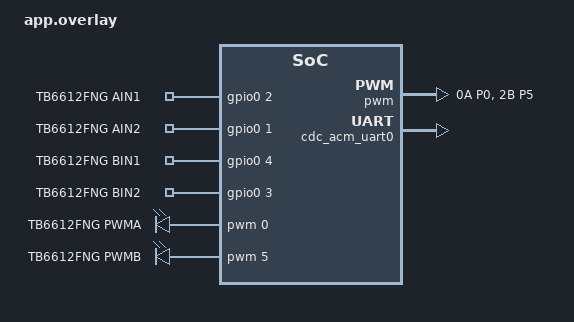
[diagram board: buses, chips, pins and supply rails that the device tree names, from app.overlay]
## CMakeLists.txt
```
# SPDX-License-Identifier: Apache-2.0

cmake_minimum_required(VERSION 3.20.0)

find_package(Zephyr REQUIRED HINTS $ENV{ZEPHYR_BASE})
project(picow_motor)

target_sources(app PRIVATE src/main.c src/motor_control.c)
```

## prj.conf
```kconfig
#CDC specific configurations
CONFIG_USB_DEVICE_STACK=y
CONFIG_USB_DEVICE_PRODUCT="RPi Pico USB Serial Console"
CONFIG_USB_DEVICE_VID=0001
CONFIG_CONSOLE=y

#GPIO specific configurations
CONFIG_GPIO=y #Enables the use of GPIO pins

#Sensor specific configurations
CONFIG_PWM=y

#UART specific configurations - also required for CDC ACM
CONFIG_SERIAL=y # Enable options for serial drivers
CONFIG_UART_CONSOLE=y # Sets the default for printk and printf to output to the UART serial console
CONFIG_UART_LINE_CTRL=y # This enables the API for apps to control the serial line, such as baud rate, CTS and RTS.
```

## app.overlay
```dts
/ {
    chosen {
        zephyr,console = &cdc_acm_uart0;
};

    tb6612fng_pins {
        compatible = "gpio-keys";
        
        ain1_pin_label: ain1_pin {
            gpios = <&gpio0 2 GPIO_ACTIVE_HIGH>;
            label = "TB6612FNG AIN1";
        };
        ain2_pin_label: ain2_pin {
            gpios = <&gpio0 1 GPIO_ACTIVE_HIGH>;
            label = "TB6612FNG AIN2";
        };
        bin1_pin_label: bin1_pin {
            gpios = <&gpio0 4 GPIO_ACTIVE_HIGH>;
            label = "TB6612FNG BIN1";
        };
        bin2_pin_label: bin2_pin {
            gpios = <&gpio0 3 GPIO_ACTIVE_HIGH>;
            label = "TB6612FNG BIN2";
        };
    };

    tb6612fng_pwm {
        compatible = "pwm-leds";
        pwm_a_label: pwm_a {
            pwms = <&pwm 0 PWM_MSEC(20) PWM_POLARITY_NORMAL>;
            label = "TB6612FNG PWMA"; 
        };
        pwm_b_label: pwm_b {
            pwms = <&pwm 5 PWM_MSEC(20) PWM_POLARITY_NORMAL>;
            label = "TB6612FNG PWMB";
        };
    };

};

&pwm {
    status = "okay";
    pinctrl-0 = <&pwm_ch05_default>;
    pinctrl-names = "default";
};


&pinctrl{
    pwm_ch05_default: pwm_ch05_default{
        group1{
            pinmux = <PWM_0A_P0>;
        };
        group2{
            pinmux = <PWM_2B_P5>;
        };
    };
};


&zephyr_udc0 {
    cdc_acm_uart0: cdc_acm_uart0 {
        compatible = "zephyr,cdc-acm-uart";
        label = "CDC_ACM_0";
        status = "okay";
    };
};
```

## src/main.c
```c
#include <zephyr/kernel.h>
#include <zephyr/usb/usb_device.h>
#include <zephyr/drivers/uart.h>
#include <zephyr/drivers/pwm.h>
#include "motor_control.h"

static const struct device *usb_acm = DEVICE_DT_GET(DT_CHOSEN(zephyr_console));

int main(void) {
    int ret;

    if (!device_is_ready(usb_acm)) {
        printk("CDC ACM device not ready\r\n");
        return 0;
    }

    // Configure GPIO pins for motor control
    configure_gpio(&ain_1, "AIN1");
    configure_gpio(&ain_2, "AIN2");
    configure_gpio(&bin_1, "BIN1");
    configure_gpio(&bin_2, "BIN2");

    // Enable USB device
    ret = usb_enable(NULL);
    if (ret != 0) {
        printk("Failed to enable USB\r\n");
        return 0;
    }

    // Wait for the USB connection
    uint32_t dtr = 0;
    while (!dtr) {
        uart_line_ctrl_get(usb_acm, UART_LINE_CTRL_DTR, &dtr);
        k_sleep(K_MSEC(100));
    }

    // Configure PWM for the motor driver
    if (!pwm_is_ready_dt(&pwm_a) || !pwm_is_ready_dt(&pwm_b)) {
        printk("PWM Device not ready!\r\n");
        return 0;
    }

   while (1) {
    // Speed variations
    uint32_t pwm_pulse_speeds[] = {PWM_MSEC(5), PWM_MSEC(10), PWM_MSEC(15), PWM_MSEC(20)};
    
    for (int i = 0; i < 4; ++i) {
        printk("Ramping both motors forward to speed %d\n", i + 1);
        run_motors_forward(pwm_pulse_speeds[i]);
        k_sleep(K_MSEC(1000)); // Run for 1 second

        printk("Stopping motors\n");
        stop_motors(pwm_pulse_speeds[i]);
        k_sleep(K_MSEC(500)); // Pause for 500ms before reversing direction

        printk("Ramping both motors backward to speed %d\n", i + 1);
        run_motors_backward(pwm_pulse_speeds[i]);
        k_sleep(K_MSEC(1000)); // Run for 1 second

        printk("Stopping motors\n");
        stop_motors(pwm_pulse_speeds[i]);
        k_sleep(K_MSEC(500)); // Pause for 500ms before next iteration
        }
    }
    return 0;
}
```

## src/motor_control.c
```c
#include "motor_control.h"

#define PWM_NODE DT_NODELABEL(pwm_a_label)
#define PWM_PERIOD DT_PWMS_PERIOD(PWM_NODE) //NOTE: converts period to ns, so 20 ms = 20,000,000 ns

// GPIO and PWM specifications
void configure_gpio(const struct gpio_dt_spec *pin, const char *name) {
    int ret = gpio_pin_configure_dt(pin, GPIO_OUTPUT_ACTIVE);
    if (ret != 0) {
        printk("Error %d: Failed to configure %s pin\r\n", ret, name);
    } else {
        printk("%s pin configured\r\n", name);
    }
}

void set_motor_speed(const struct pwm_dt_spec *pwm, uint32_t pwm_period, uint32_t pwm_pulse) {
    if (pwm_set_dt(pwm, pwm_period, pwm_pulse) != 0) {
        printk("Error: Failed to set PWM signal\r\n");
    }
}

void ramp_motor_speed_both(uint32_t start_pulse, uint32_t end_pulse, uint32_t ramp_time) {
    int steps = 10;
    int step_delay = ramp_time / steps;
    int32_t step_pulse;
    
    if (end_pulse == 0) {
        step_pulse = - (int32_t) start_pulse / steps; //typecast necessary when converting from uint32_t to int32_t
    } else {
        step_pulse = (end_pulse - start_pulse) / steps;
    }

    for (int i = 0; i <= steps; ++i) {
        int32_t pulse = start_pulse + step_pulse * i;
        set_motor_speed(&pwm_a, PWM_PERIOD, pulse);
        set_motor_speed(&pwm_b, PWM_PERIOD, pulse);
        k_sleep(K_MSEC(step_delay));
    }   
}

void run_motors_forward(uint32_t pwm_pulse) {
    ramp_motor_speed_both(0, pwm_pulse, 500); // Smooth transition
    gpio_pin_set_dt(&ain_1, 1);
    gpio_pin_set_dt(&ain_2, 0);
    gpio_pin_set_dt(&bin_1, 1);
    gpio_pin_set_dt(&bin_2, 0);
}

void run_motors_backward(uint32_t pwm_pulse) {
    ramp_motor_speed_both(0, pwm_pulse, 500); // Smooth transition
    gpio_pin_set_dt(&ain_1, 0);
    gpio_pin_set_dt(&ain_2, 1);
    gpio_pin_set_dt(&bin_1, 0);
    gpio_pin_set_dt(&bin_2, 1);
}

void stop_motors(uint32_t current_pulse) {
    ramp_motor_speed_both(current_pulse, 0, 500); // Smooth transition to stop
    gpio_pin_set_dt(&ain_1, 0);
    gpio_pin_set_dt(&ain_2, 0);
    gpio_pin_set_dt(&bin_1, 0);
    gpio_pin_set_dt(&bin_2, 0);
}
```

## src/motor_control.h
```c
#ifndef MOTOR_CONTROL_H
#define MOTOR_CONTROL_H

#include <zephyr/kernel.h>
#include <zephyr/drivers/gpio.h>
#include <zephyr/drivers/pwm.h>

static const struct gpio_dt_spec ain_1 = GPIO_DT_SPEC_GET(DT_NODELABEL(ain1_pin_label), gpios);
static const struct gpio_dt_spec ain_2 = GPIO_DT_SPEC_GET(DT_NODELABEL(ain2_pin_label), gpios);
static const struct gpio_dt_spec bin_1 = GPIO_DT_SPEC_GET(DT_NODELABEL(bin1_pin_label), gpios);
static const struct gpio_dt_spec bin_2 = GPIO_DT_SPEC_GET(DT_NODELABEL(bin2_pin_label), gpios);
 
static const struct pwm_dt_spec pwm_a = PWM_DT_SPEC_GET(DT_NODELABEL(pwm_a_label));
static const struct pwm_dt_spec pwm_b = PWM_DT_SPEC_GET(DT_NODELABEL(pwm_b_label));

// Function prototypes
void configure_gpio(const struct gpio_dt_spec *pin, const char *name);
void set_motor_speed(const struct pwm_dt_spec *pwm, uint32_t pwm_period, uint32_t pwm_pulse);
void ramp_motor_speed_both(uint32_t start_pulse, uint32_t end_pulse, uint32_t ramp_time);
void run_motors_forward(uint32_t pwm_pulse);
void run_motors_backward(uint32_t pwm_pulse);
void stop_motors(uint32_t current_pulse);
#endif // MOTOR_CONTROL_H
```
